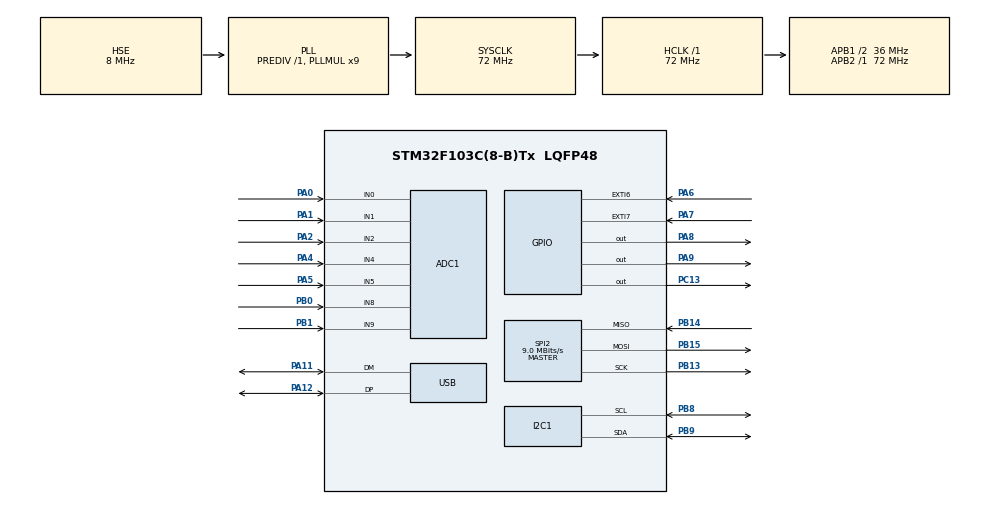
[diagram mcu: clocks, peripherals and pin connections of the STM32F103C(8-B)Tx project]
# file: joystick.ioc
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ADC1.Channel-0\#ChannelRegularConversion=ADC_CHANNEL_0
ADC1.Channel-2\#ChannelRegularConversion=ADC_CHANNEL_1
ADC1.Channel-3\#ChannelRegularConversion=ADC_CHANNEL_2
ADC1.Channel-4\#ChannelRegularConversion=ADC_CHANNEL_9
ADC1.Channel-5\#ChannelRegularConversion=ADC_CHANNEL_4
ADC1.Channel-6\#ChannelRegularConversion=ADC_CHANNEL_5
ADC1.ContinuousConvMode=ENABLE
ADC1.DiscontinuousConvMode=DISABLE
ADC1.NbrOfConversion=6
ADC1.NbrOfConversionFlag=1
ADC1.Rank-0\#ChannelRegularConversion=1
ADC1.Rank-2\#ChannelRegularConversion=2
ADC1.Rank-3\#ChannelRegularConversion=3
ADC1.Rank-4\#ChannelRegularConversion=4
ADC1.Rank-5\#ChannelRegularConversion=5
ADC1.Rank-6\#ChannelRegularConversion=6
ADC1.SamplingTime-0\#ChannelRegularConversion=ADC_SAMPLETIME_239CYCLES_5
ADC1.SamplingTime-2\#ChannelRegularConversion=ADC_SAMPLETIME_239CYCLES_5
ADC1.SamplingTime-3\#ChannelRegularConversion=ADC_SAMPLETIME_239CYCLES_5
ADC1.SamplingTime-4\#ChannelRegularConversion=ADC_SAMPLETIME_239CYCLES_5
ADC1.SamplingTime-5\#ChannelRegularConversion=ADC_SAMPLETIME_239CYCLES_5
ADC1.SamplingTime-6\#ChannelRegularConversion=ADC_SAMPLETIME_239CYCLES_5
ADC1.master=1
Dma.ADC1.0.Direction=DMA_PERIPH_TO_MEMORY
Dma.ADC1.0.Instance=DMA1_Channel1
Dma.ADC1.0.MemDataAlignment=DMA_MDATAALIGN_HALFWORD
Dma.ADC1.0.MemInc=DMA_MINC_ENABLE
Dma.ADC1.0.Mode=DMA_CIRCULAR
Dma.ADC1.0.PeriphDataAlignment=DMA_PDATAALIGN_HALFWORD
Dma.ADC1.0.PeriphInc=DMA_PINC_DISABLE
Dma.ADC1.0.Priority=DMA_PRIORITY_LOW
Dma.Request0=ADC1
Mcu.Family=STM32F1
Mcu.Name=STM32F103C(8-B)Tx
Mcu.Package=LQFP48
NVIC.ADC1_2_IRQn=true\:0\:0\:false\:false\:true\:true\:true
NVIC.DMA1_Channel1_IRQn=true\:0\:0\:false\:false\:true\:false\:true
NVIC.EXTI9_5_IRQn=true\:0\:0\:false\:false\:true\:true\:true
NVIC.PriorityGroup=NVIC_PRIORITYGROUP_4
NVIC.TIM4_IRQn=true\:0\:0\:false\:false\:true\:true\:true
NVIC.USB_LP_CAN1_RX0_IRQn=true\:0\:0\:false\:false\:true\:false\:true
PA0-WKUP.Signal=ADCx_IN0
PA1.Signal=ADCx_IN1
PA11.Mode=Device
PA11.Signal=USB_DM
PA12.Mode=Device
PA12.Signal=USB_DP
PA13.Mode=Serial_Wire
PA13.Signal=SYS_JTMS-SWDIO
PA14.Mode=Serial_Wire
PA14.Signal=SYS_JTCK-SWCLK
PA2.Signal=ADCx_IN2
PA4.Signal=ADCx_IN4
PA5.Signal=ADCx_IN5
PA6.GPIO_ModeDefaultEXTI=GPIO_MODE_IT_RISING
PA6.GPIO_PuPd=GPIO_PULLUP
PA6.Signal=GPXTI6
PA7.GPIO_ModeDefaultEXTI=GPIO_MODE_IT_RISING
PA7.GPIO_PuPd=GPIO_PULLUP
PA7.Signal=GPXTI7
PA8.GPIO_Speed=GPIO_SPEED_FREQ_MEDIUM
PA8.PinState=GPIO_PIN_RESET
PA8.Signal=GPIO_Output
PA9.GPIO_Speed=GPIO_SPEED_FREQ_MEDIUM
PA9.Signal=GPIO_Output
PB0.Signal=ADCx_IN8
PB1.Signal=ADCx_IN9
PB13.Mode=Full_Duplex_Master
PB13.Signal=SPI2_SCK
PB14.Mode=Full_Duplex_Master
PB14.Signal=SPI2_MISO
PB15.Mode=Full_Duplex_Master
PB15.Signal=SPI2_MOSI
PB8.Mode=I2C
PB8.Signal=I2C1_SCL
PB9.Mode=I2C
PB9.Signal=I2C1_SDA
PC13-TAMPER-RTC.Signal=GPIO_Output
PD0-OSC_IN.Mode=HSE-External-Oscillator
PD0-OSC_IN.Signal=RCC_OSC_IN
PD1-OSC_OUT.Mode=HSE-External-Oscillator
PD1-OSC_OUT.Signal=RCC_OSC_OUT
ProjectManager.HeapSize=0x200
ProjectManager.StackSize=0x400
ProjectManager.TargetToolchain=STM32CubeIDE
RCC.ADCPresc=RCC_ADCPCLK2_DIV8
RCC.AHBFreq_Value=72000000
RCC.APB1CLKDivider=RCC_HCLK_DIV2
RCC.APB1Freq_Value=36000000
RCC.APB1TimFreq_Value=72000000
RCC.APB2Freq_Value=72000000
RCC.APB2TimFreq_Value=72000000
RCC.HCLKFreq_Value=72000000
RCC.PLLMUL=RCC_PLL_MUL9
RCC.PLLSourceVirtual=RCC_PLLSOURCE_HSE
RCC.SYSCLKFreq_VALUE=72000000
RCC.SYSCLKSource=RCC_SYSCLKSOURCE_PLLCLK
RCC.USBFreq_Value=48000000
RCC.USBPrescaler=RCC_USBCLKSOURCE_PLL_DIV1_5
SH.ADCx_IN0.0=ADC1_IN0,IN0
SH.ADCx_IN1.0=ADC1_IN1,IN1
SH.ADCx_IN2.0=ADC1_IN2,IN2
SH.ADCx_IN4.0=ADC1_IN4,IN4
SH.ADCx_IN5.0=ADC1_IN5,IN5
SH.ADCx_IN8.0=ADC1_IN8,IN8
SH.ADCx_IN9.0=ADC1_IN9,IN9
SPI2.BaudRatePrescaler=SPI_BAUDRATEPRESCALER_4
SPI2.CalculateBaudRate=9.0 MBits/s
SPI2.Direction=SPI_DIRECTION_2LINES
SPI2.Mode=SPI_MODE_MASTER
SPI2.VirtualType=VM_MASTER
TIM4.Period=1000
TIM4.Prescaler=71
USB_DEVICE.CLASS_NAME_FS=HID
USB_DEVICE.VirtualMode=Hid
USB_DEVICE.VirtualModeFS=Hid_FS
VP_TIM4_VS_ClockSourceINT.Mode=Internal
VP_USB_DEVICE_VS_USB_DEVICE_HID_FS.Mode=HID_FS
board=custom

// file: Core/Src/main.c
/* USER CODE BEGIN Header */
/**
  ******************************************************************************
  * @file           : main.c
  * @brief          : Main program body
  ******************************************************************************
  * @attention
  *
  * <h2><center>&copy; Copyright (c) 2020 STMicroelectronics.
  * All rights reserved.</center></h2>
  *
  * This software component is licensed by ST under Ultimate Liberty license
  * SLA0044, the "License"; You may not use this file except in compliance with
  * the License. You may obtain a copy of the License at:
  *                             www.st.com/SLA0044
  *
  ******************************************************************************
  */
/* USER CODE END Header */

#include "main.h"
#include "usb_device.h"

/* USER CODE BEGIN Includes */
#include "usbd_hid.h"
/* USER CODE END Includes */

/* USER CODE BEGIN PTD */
#define REPORT_SIZE 5
#define RIGHT_CLICK_GPIO 				GPIOA
#define RIGHT_CLICK_PIN 				GPIO_PIN_0
#define LEFT_CLICK_GPIO 				GPIOA
#define LEFT_CLICK_PIN 					GPIO_PIN_1
#define VER_MOTION_GPIO 				GPIOA
#define VER_MOTION_PIN 					GPIO_PIN_2
#define HOR_MOTION_GPIO 				GPIOA
#define HOR_MOTION_PIN 					GPIO_PIN_3
/* USER CODE END PTD */

ADC_HandleTypeDef hadc1;
DMA_HandleTypeDef hdma_adc1;

I2C_HandleTypeDef hi2c1;

SPI_HandleTypeDef hspi2;

TIM_HandleTypeDef htim4;

extern USBD_HandleTypeDef hUsbDeviceFS;

uint8_t click_report[REPORT_SIZE] = {0};

void SystemClock_Config(void);
static void MX_GPIO_Init(void);
static void MX_DMA_Init(void);
static void MX_ADC1_Init(void);
static void MX_I2C1_Init(void);
static void MX_SPI2_Init(void);
static void MX_TIM4_Init(void);

/* USER CODE BEGIN 0 */
uint16_t a[6];
uint8_t calib1,calib2;
/* USER CODE END 0 */

int main(void)
{

  /* MCU Configuration--------------------------------------------------------*/

  /* Reset of all peripherals, Initializes the Flash interface and the Systick. */
  HAL_Init();

  /* Configure the system clock */
  SystemClock_Config();

  /* Initialize all configured peripherals */
  MX_GPIO_Init();
  MX_DMA_Init();
  MX_ADC1_Init();
  MX_I2C1_Init();
  MX_SPI2_Init();
  MX_TIM4_Init();
  MX_USB_DEVICE_Init();
  /* USER CODE BEGIN 2 */
  HAL_ADC_Start_DMA(&hadc1,a,6);
  float temp1,temp2;
  for(int i = 0 ; i < 100; i++){
      temp1 += floor(a[1]/4096.0*255);
      temp2 += floor(a[2]/4096.0*255);
      HAL_Delay(2);
  }
  temp1/=100;
  temp2/=100;

  calib1 = (uint8_t) temp1;
  calib2 = (uint8_t) temp2;
  /* USER CODE END 2 */

  /* Infinite loop */
  while (1)
  {

    /* USER CODE BEGIN 3 */

		click_report[0] = 0; //click

		if((floor(a[1]/4096.0*255) -  calib1) > 2){
			 click_report[1] = (uint8_t)( 255 - ((a[1]/4096.0*255) - calib1)/2);

		}
		else{
			if((floor(a[1]/4096.0*255) -  calib1) < -2){
			      click_report[1] =(uint8_t)( 255 -  ((a[1]/4096.0*255) - calib1)/2);			//x
			}
			else{
				click_report[1] = 0;
			}
		}
		if((floor(a[2]/4096.0*255) - calib2) > 2){
			  click_report[2] = (uint8_t)( 255 - ((a[2]/4096.0*255) - calib2)/2);

				}
				else{
					if((floor(a[2]/4096.0*255) -  calib2) < -2){
						 click_report[2] = (uint8_t)( 255 -  ((a[2]/4096.0*255) - calib2)/2);			//x
					}
								else{
									click_report[2] = 0;
								}
				}
		click_report[3] = 0;			//wheel
		click_report[4] = 0;			//motion wakeup

//		HAL_Delay();

		USBD_HID_SendReport(&hUsbDeviceFS,click_report,5);
  }
  /* USER CODE END 3 */
}

void SystemClock_Config(void)
{
  RCC_OscInitTypeDef RCC_OscInitStruct = {0};
  RCC_ClkInitTypeDef RCC_ClkInitStruct = {0};
  RCC_PeriphCLKInitTypeDef PeriphClkInit = {0};

  /** Initializes the CPU, AHB and APB busses clocks
  */
  RCC_OscInitStruct.OscillatorType = RCC_OSCILLATORTYPE_HSE;
  RCC_OscInitStruct.HSEState = RCC_HSE_ON;
  RCC_OscInitStruct.HSEPredivValue = RCC_HSE_PREDIV_DIV1;
  RCC_OscInitStruct.HSIState = RCC_HSI_ON;
  RCC_OscInitStruct.PLL.PLLState = RCC_PLL_ON;
  RCC_OscInitStruct.PLL.PLLSource = RCC_PLLSOURCE_HSE;
  RCC_OscInitStruct.PLL.PLLMUL = RCC_PLL_MUL9;
  if (HAL_RCC_OscConfig(&RCC_OscInitStruct) != HAL_OK)
  {
    Error_Handler();
  }
  /** Initializes the CPU, AHB and APB busses clocks
  */
  RCC_ClkInitStruct.ClockType = RCC_CLOCKTYPE_HCLK|RCC_CLOCKTYPE_SYSCLK
                              |RCC_CLOCKTYPE_PCLK1|RCC_CLOCKTYPE_PCLK2;
  RCC_ClkInitStruct.SYSCLKSource = RCC_SYSCLKSOURCE_PLLCLK;
  RCC_ClkInitStruct.AHBCLKDivider = RCC_SYSCLK_DIV1;
  RCC_ClkInitStruct.APB1CLKDivider = RCC_HCLK_DIV2;
  RCC_ClkInitStruct.APB2CLKDivider = RCC_HCLK_DIV1;

  if (HAL_RCC_ClockConfig(&RCC_ClkInitStruct, FLASH_LATENCY_2) != HAL_OK)
  {
    Error_Handler();
  }
  PeriphClkInit.PeriphClockSelection = RCC_PERIPHCLK_ADC|RCC_PERIPHCLK_USB;
  PeriphClkInit.AdcClockSelection = RCC_ADCPCLK2_DIV8;
  PeriphClkInit.UsbClockSelection = RCC_USBCLKSOURCE_PLL_DIV1_5;
  if (HAL_RCCEx_PeriphCLKConfig(&PeriphClkInit) != HAL_OK)
  {
    Error_Handler();
  }
}

static void MX_ADC1_Init(void)
{

  ADC_ChannelConfTypeDef sConfig = {0};

  /** Common config
  */
  hadc1.Instance = ADC1;
  hadc1.Init.ScanConvMode = ADC_SCAN_ENABLE;
  hadc1.Init.ContinuousConvMode = ENABLE;
  hadc1.Init.DiscontinuousConvMode = DISABLE;
  hadc1.Init.ExternalTrigConv = ADC_SOFTWARE_START;
  hadc1.Init.DataAlign = ADC_DATAALIGN_RIGHT;
  hadc1.Init.NbrOfConversion = 6;
  if (HAL_ADC_Init(&hadc1) != HAL_OK)
  {
    Error_Handler();
  }
  /** Configure Regular Channel
  */
  sConfig.Channel = ADC_CHANNEL_0;
  sConfig.Rank = ADC_REGULAR_RANK_1;
  sConfig.SamplingTime = ADC_SAMPLETIME_239CYCLES_5;
  if (HAL_ADC_ConfigChannel(&hadc1, &sConfig) != HAL_OK)
  {
    Error_Handler();
  }
  /** Configure Regular Channel
  */
  sConfig.Channel = ADC_CHANNEL_1;
  sConfig.Rank = ADC_REGULAR_RANK_2;
  if (HAL_ADC_ConfigChannel(&hadc1, &sConfig) != HAL_OK)
  {
    Error_Handler();
  }
  /** Configure Regular Channel
  */
  sConfig.Channel = ADC_CHANNEL_2;
  sConfig.Rank = ADC_REGULAR_RANK_3;
  if (HAL_ADC_ConfigChannel(&hadc1, &sConfig) != HAL_OK)
  {
    Error_Handler();
  }
  /** Configure Regular Channel
  */
  sConfig.Channel = ADC_CHANNEL_9;
  sConfig.Rank = ADC_REGULAR_RANK_4;
  if (HAL_ADC_ConfigChannel(&hadc1, &sConfig) != HAL_OK)
  {
    Error_Handler();
  }
  /** Configure Regular Channel
  */
  sConfig.Channel = ADC_CHANNEL_4;
  sConfig.Rank = ADC_REGULAR_RANK_5;
  if (HAL_ADC_ConfigChannel(&hadc1, &sConfig) != HAL_OK)
  {
    Error_Handler();
  }
  /** Configure Regular Channel
  */
  sConfig.Channel = ADC_CHANNEL_5;
  sConfig.Rank = ADC_REGULAR_RANK_6;
  if (HAL_ADC_ConfigChannel(&hadc1, &sConfig) != HAL_OK)
  {
    Error_Handler();
  }

}

static void MX_I2C1_Init(void)
{

  hi2c1.Instance = I2C1;
  hi2c1.Init.ClockSpeed = 100000;
  hi2c1.Init.DutyCycle = I2C_DUTYCYCLE_2;
  hi2c1.Init.OwnAddress1 = 0;
  hi2c1.Init.AddressingMode = I2C_ADDRESSINGMODE_7BIT;
  hi2c1.Init.DualAddressMode = I2C_DUALADDRESS_DISABLE;
  hi2c1.Init.OwnAddress2 = 0;
  hi2c1.Init.GeneralCallMode = I2C_GENERALCALL_DISABLE;
  hi2c1.Init.NoStretchMode = I2C_NOSTRETCH_DISABLE;
  if (HAL_I2C_Init(&hi2c1) != HAL_OK)
  {
    Error_Handler();
  }

}

static void MX_SPI2_Init(void)
{

  /* SPI2 parameter configuration*/
  hspi2.Instance = SPI2;
  hspi2.Init.Mode = SPI_MODE_MASTER;
  hspi2.Init.Direction = SPI_DIRECTION_2LINES;
  hspi2.Init.DataSize = SPI_DATASIZE_8BIT;
  hspi2.Init.CLKPolarity = SPI_POLARITY_LOW;
  hspi2.Init.CLKPhase = SPI_PHASE_1EDGE;
  hspi2.Init.NSS = SPI_NSS_SOFT;
  hspi2.Init.BaudRatePrescaler = SPI_BAUDRATEPRESCALER_4;
  hspi2.Init.FirstBit = SPI_FIRSTBIT_MSB;
  hspi2.Init.TIMode = SPI_TIMODE_DISABLE;
  hspi2.Init.CRCCalculation = SPI_CRCCALCULATION_DISABLE;
  hspi2.Init.CRCPolynomial = 10;
  if (HAL_SPI_Init(&hspi2) != HAL_OK)
  {
    Error_Handler();
  }

}

static void MX_TIM4_Init(void)
{

  TIM_ClockConfigTypeDef sClockSourceConfig = {0};
  TIM_MasterConfigTypeDef sMasterConfig = {0};

  htim4.Instance = TIM4;
  htim4.Init.Prescaler = 71;
  htim4.Init.CounterMode = TIM_COUNTERMODE_UP;
  htim4.Init.Period = 1000;
  htim4.Init.ClockDivision = TIM_CLOCKDIVISION_DIV1;
  htim4.Init.AutoReloadPreload = TIM_AUTORELOAD_PRELOAD_DISABLE;
  if (HAL_TIM_Base_Init(&htim4) != HAL_OK)
  {
    Error_Handler();
  }
  sClockSourceConfig.ClockSource = TIM_CLOCKSOURCE_INTERNAL;
  if (HAL_TIM_ConfigClockSource(&htim4, &sClockSourceConfig) != HAL_OK)
  {
    Error_Handler();
  }
  sMasterConfig.MasterOutputTrigger = TIM_TRGO_RESET;
  sMasterConfig.MasterSlaveMode = TIM_MASTERSLAVEMODE_DISABLE;
  if (HAL_TIMEx_MasterConfigSynchronization(&htim4, &sMasterConfig) != HAL_OK)
  {
    Error_Handler();
  }

}

static void MX_DMA_Init(void)
{

  /* DMA controller clock enable */
  __HAL_RCC_DMA1_CLK_ENABLE();

  /* DMA interrupt init */
  /* DMA1_Channel1_IRQn interrupt configuration */
  HAL_NVIC_SetPriority(DMA1_Channel1_IRQn, 0, 0);
  HAL_NVIC_EnableIRQ(DMA1_Channel1_IRQn);

}

static void MX_GPIO_Init(void)
{
  GPIO_InitTypeDef GPIO_InitStruct = {0};

  /* GPIO Ports Clock Enable */
  __HAL_RCC_GPIOC_CLK_ENABLE();
  __HAL_RCC_GPIOD_CLK_ENABLE();
  __HAL_RCC_GPIOA_CLK_ENABLE();
  __HAL_RCC_GPIOB_CLK_ENABLE();

  /*Configure GPIO pin Output Level */
  HAL_GPIO_WritePin(GPIOC, GPIO_PIN_13, GPIO_PIN_RESET);

  /*Configure GPIO pin Output Level */
  HAL_GPIO_WritePin(GPIOA, GPIO_PIN_8|GPIO_PIN_9, GPIO_PIN_RESET);

  /*Configure GPIO pin : PC13 */
  GPIO_InitStruct.Pin = GPIO_PIN_13;
  GPIO_InitStruct.Mode = GPIO_MODE_OUTPUT_PP;
  GPIO_InitStruct.Pull = GPIO_NOPULL;
  GPIO_InitStruct.Speed = GPIO_SPEED_FREQ_LOW;
  HAL_GPIO_Init(GPIOC, &GPIO_InitStruct);

  /*Configure GPIO pins : PA6 PA7 */
  GPIO_InitStruct.Pin = GPIO_PIN_6|GPIO_PIN_7;
  GPIO_InitStruct.Mode = GPIO_MODE_IT_RISING;
  GPIO_InitStruct.Pull = GPIO_PULLUP;
  HAL_GPIO_Init(GPIOA, &GPIO_InitStruct);

  /*Configure GPIO pins : PA8 PA9 */
  GPIO_InitStruct.Pin = GPIO_PIN_8|GPIO_PIN_9;
  GPIO_InitStruct.Mode = GPIO_MODE_OUTPUT_PP;
  GPIO_InitStruct.Pull = GPIO_NOPULL;
  GPIO_InitStruct.Speed = GPIO_SPEED_FREQ_MEDIUM;
  HAL_GPIO_Init(GPIOA, &GPIO_InitStruct);

  /* EXTI interrupt init*/
  HAL_NVIC_SetPriority(EXTI9_5_IRQn, 0, 0);
  HAL_NVIC_EnableIRQ(EXTI9_5_IRQn);

}

void Error_Handler(void)
{
}

/************************ (C) COPYRIGHT STMicroelectronics *****END OF FILE****/
